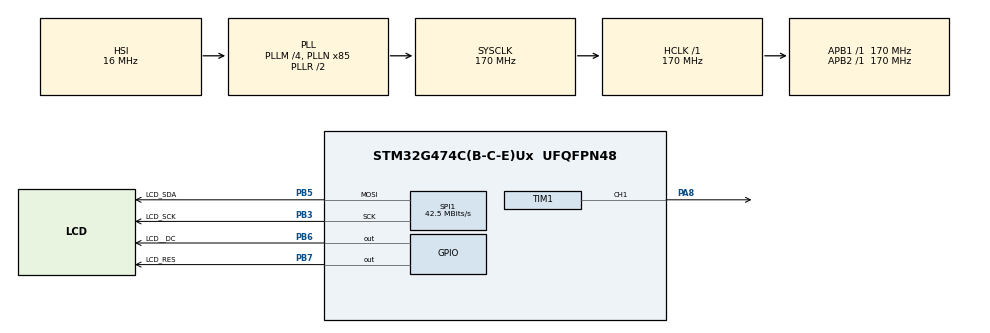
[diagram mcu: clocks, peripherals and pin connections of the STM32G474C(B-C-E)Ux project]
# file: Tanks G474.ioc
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Dma.Request0=SPI1_TX
Dma.SPI1_TX.0.Direction=DMA_MEMORY_TO_PERIPH
Dma.SPI1_TX.0.EventEnable=DISABLE
Dma.SPI1_TX.0.Instance=DMA1_Channel1
Dma.SPI1_TX.0.MemDataAlignment=DMA_MDATAALIGN_BYTE
Dma.SPI1_TX.0.MemInc=DMA_MINC_ENABLE
Dma.SPI1_TX.0.Mode=DMA_NORMAL
Dma.SPI1_TX.0.PeriphDataAlignment=DMA_PDATAALIGN_BYTE
Dma.SPI1_TX.0.PeriphInc=DMA_PINC_DISABLE
Dma.SPI1_TX.0.Polarity=HAL_DMAMUX_REQ_GEN_RISING
Dma.SPI1_TX.0.Priority=DMA_PRIORITY_LOW
Dma.SPI1_TX.0.RequestNumber=1
Dma.SPI1_TX.0.SignalID=NONE
Dma.SPI1_TX.0.SyncEnable=DISABLE
Dma.SPI1_TX.0.SyncPolarity=HAL_DMAMUX_SYNC_NO_EVENT
Dma.SPI1_TX.0.SyncRequestNumber=1
Dma.SPI1_TX.0.SyncSignalID=NONE
Mcu.Family=STM32G4
Mcu.Name=STM32G474C(B-C-E)Ux
Mcu.Package=UFQFPN48
NVIC.DMA1_Channel1_IRQn=true\:0\:0\:false\:false\:true\:false\:true\:true
NVIC.PriorityGroup=NVIC_PRIORITYGROUP_4
PA13.Mode=Serial_Wire
PA13.Signal=SYS_JTMS-SWDIO
PA14.Mode=Serial_Wire
PA14.Signal=SYS_JTCK-SWCLK
PA8.Signal=S_TIM1_CH1
PB3.GPIO_Label=LCD_SCK
PB3.GPIO_Speed=GPIO_SPEED_FREQ_VERY_HIGH
PB3.Mode=TX_Only_Simplex_Unidirect_Master
PB3.Signal=SPI1_SCK
PB5.GPIO_Label=LCD_SDA
PB5.GPIO_Speed=GPIO_SPEED_FREQ_VERY_HIGH
PB5.Mode=TX_Only_Simplex_Unidirect_Master
PB5.Signal=SPI1_MOSI
PB6.GPIO_Label=LCD__DC
PB6.GPIO_Speed=GPIO_SPEED_FREQ_VERY_HIGH
PB6.Signal=GPIO_Output
PB7.GPIO_Label=LCD_RES
PB7.GPIO_Speed=GPIO_SPEED_FREQ_VERY_HIGH
PB7.Signal=GPIO_Output
ProjectManager.HeapSize=0x200
ProjectManager.StackSize=0x400
ProjectManager.TargetToolchain=STM32CubeIDE
RCC.ADC12Freq_Value=170000000
RCC.ADC345Freq_Value=170000000
RCC.AHBFreq_Value=170000000
RCC.APB1Freq_Value=170000000
RCC.APB1TimFreq_Value=170000000
RCC.APB2Freq_Value=170000000
RCC.APB2TimFreq_Value=170000000
RCC.CortexFreq_Value=170000000
RCC.EXTERNAL_CLOCK_VALUE=12288000
RCC.HCLKFreq_Value=170000000
RCC.HSE_VALUE=8000000
RCC.HSI48_VALUE=48000000
RCC.HSI_VALUE=16000000
RCC.LSE_VALUE=32768
RCC.PLLM=RCC_PLLM_DIV4
RCC.PLLN=85
RCC.SYSCLKFreq_VALUE=170000000
RCC.SYSCLKSource=RCC_SYSCLKSOURCE_PLLCLK
RCC.USBFreq_Value=170000000
RCC.VCOOutputFreq_Value=340000000
SH.S_TIM1_CH1.0=TIM1_CH1,PWM Generation1 CH1
SPI1.BaudRatePrescaler=SPI_BAUDRATEPRESCALER_4
SPI1.CLKPhase=SPI_PHASE_2EDGE
SPI1.CLKPolarity=SPI_POLARITY_HIGH
SPI1.CalculateBaudRate=42.5 MBits/s
SPI1.DataSize=SPI_DATASIZE_8BIT
SPI1.Direction=SPI_DIRECTION_2LINES
SPI1.Mode=SPI_MODE_MASTER
SPI1.VirtualType=VM_MASTER
TIM1.Channel-PWM\ Generation1\ CH1=TIM_CHANNEL_1
VP_SYS_VS_DBSignals.Mode=DisableDeadBatterySignals
VP_TIM1_VS_ClockSourceINT.Mode=Internal
board=custom

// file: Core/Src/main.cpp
/* USER CODE BEGIN Header */
/**
  ******************************************************************************
  * @file           : main.c
  * @brief          : Main program body
  ******************************************************************************
  * @attention
  *
  * Copyright (c) 2025 STMicroelectronics.
  * All rights reserved.
  *
  * This software is licensed under terms that can be found in the LICENSE file
  * in the root directory of this software component.
  * If no LICENSE file comes with this software, it is provided AS-IS.
  *
  ******************************************************************************
  */
/* USER CODE END Header */
#include "main.h"
#include "dma.h"
#include "spi.h"
#include "tim.h"
#include "gpio.h"

/* USER CODE BEGIN Includes */
#include "list"
#include "st7789.h"
#include "config.hpp"
#include "tank.hpp"
#include "game.hpp"
#include "shell.hpp"
/* USER CODE END Includes */

void SystemClock_Config(void);

int main(void)
{

  /* MCU Configuration--------------------------------------------------------*/

  /* Reset of all peripherals, Initializes the Flash interface and the Systick. */
  HAL_Init();

  /* Configure the system clock */
  SystemClock_Config();

  /* Initialize all configured peripherals */
  MX_GPIO_Init();
  MX_DMA_Init();
  MX_SPI1_Init();
  MX_TIM1_Init();
  /* USER CODE BEGIN 2 */
  ST7789_Init();
  ST7789_Fill_Color(BLACK);

  int tanks_cnt[2] = { 6, 6 };

  std::list<Tank*> tanks;
  std::list<Tank*>::iterator tank_it;
  std::list<Shell*> shells;
  std::list<Shell*>::iterator shell_it;

  Tank* tank = NULL;
  Shell* shell = NULL;
  /* USER CODE END 2 */

  /* Infinite loop */
  /* USER CODE BEGIN WHILE */
  while (1)
  {
    HAL_Delay(20);

    spawn(tanks, tanks_cnt);

    for (auto tank_upd : tanks) {
      tank_upd->update();
      for (auto tank_check : tanks) {
        if (tank_check == tank_upd)
          continue;

        resolve_collizion(*tank_upd, *tank_check);
      }
      tank_upd->shot(shells);
    }

    for (auto shell : shells) {
      shell->move();

      if (!(shell->life))
        continue;

      for (auto tank : tanks) {
        resolve_collizion(*shell, *tank);
      }
    }

    for (shell_it = shells.begin(); shell_it != shells.end();) {
      shell = *shell_it;
      if (!(shell->life)) {
        shell_it = shells.erase(shell_it);
        delete shell;
      }
      else
        shell_it++;
    }

    for (tank_it = tanks.begin(); tank_it != tanks.end();) {
      tank = *tank_it;
      if (tank->life < 1) {
        tanks_cnt[tank->side]++;
        tank_it = tanks.erase(tank_it);
        delete tank;
      }
      else
        tank_it++;
    }

    for (Tank* tank : tanks)
      tank->print();

    for (Shell* shell : shells)
      shell->print();
    /* USER CODE END WHILE */

  }
}

void SystemClock_Config(void)
{
  RCC_OscInitTypeDef RCC_OscInitStruct = {0};
  RCC_ClkInitTypeDef RCC_ClkInitStruct = {0};

  /** Configure the main internal regulator output voltage
  */
  HAL_PWREx_ControlVoltageScaling(PWR_REGULATOR_VOLTAGE_SCALE1_BOOST);

  /** Initializes the RCC Oscillators according to the specified parameters
  * in the RCC_OscInitTypeDef structure.
  */
  RCC_OscInitStruct.OscillatorType = RCC_OSCILLATORTYPE_HSI;
  RCC_OscInitStruct.HSIState = RCC_HSI_ON;
  RCC_OscInitStruct.HSICalibrationValue = RCC_HSICALIBRATION_DEFAULT;
  RCC_OscInitStruct.PLL.PLLState = RCC_PLL_ON;
  RCC_OscInitStruct.PLL.PLLSource = RCC_PLLSOURCE_HSI;
  RCC_OscInitStruct.PLL.PLLM = RCC_PLLM_DIV4;
  RCC_OscInitStruct.PLL.PLLN = 85;
  RCC_OscInitStruct.PLL.PLLP = RCC_PLLP_DIV2;
  RCC_OscInitStruct.PLL.PLLQ = RCC_PLLQ_DIV2;
  RCC_OscInitStruct.PLL.PLLR = RCC_PLLR_DIV2;
  if (HAL_RCC_OscConfig(&RCC_OscInitStruct) != HAL_OK)
  {
    Error_Handler();
  }

  /** Initializes the CPU, AHB and APB buses clocks
  */
  RCC_ClkInitStruct.ClockType = RCC_CLOCKTYPE_HCLK|RCC_CLOCKTYPE_SYSCLK
                              |RCC_CLOCKTYPE_PCLK1|RCC_CLOCKTYPE_PCLK2;
  RCC_ClkInitStruct.SYSCLKSource = RCC_SYSCLKSOURCE_PLLCLK;
  RCC_ClkInitStruct.AHBCLKDivider = RCC_SYSCLK_DIV1;
  RCC_ClkInitStruct.APB1CLKDivider = RCC_HCLK_DIV1;
  RCC_ClkInitStruct.APB2CLKDivider = RCC_HCLK_DIV1;

  if (HAL_RCC_ClockConfig(&RCC_ClkInitStruct, FLASH_LATENCY_4) != HAL_OK)
  {
    Error_Handler();
  }
}

void Error_Handler(void)
{
  __disable_irq();
  while (1)
  {
  }
}
